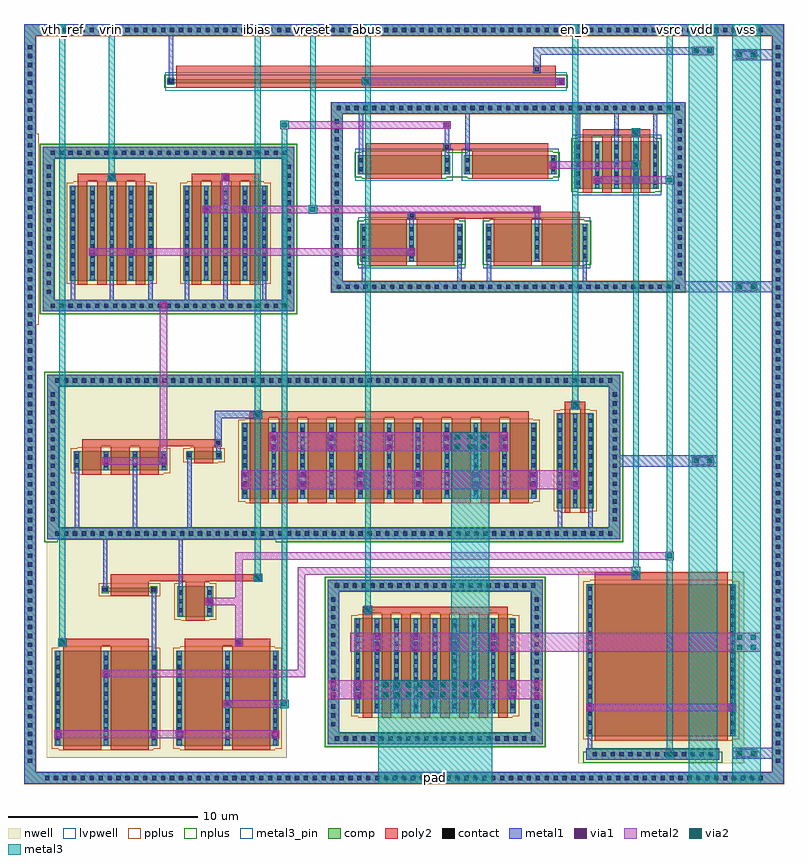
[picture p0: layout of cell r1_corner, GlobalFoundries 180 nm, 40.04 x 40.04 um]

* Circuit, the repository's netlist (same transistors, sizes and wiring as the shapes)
* LVS reference for r1_corner (layout/readout), flat transistor level.
* Source: cells/readout/r1_corner.spice -> pad_psf (readout.spice) + vreset_buf (vreset/vreset_buf.spice)
*         + vsrc_buf (vsrc/vsrc_buf.spice).
* Internal nets: s = pad-driver enable/bias midpoint, t = Vreset tail (also the input-pair n-well),
* a = Vreset mirror diode node; t2 / a2 / o = vsrc buffer tail / mirror diode / first-stage output.
.subckt r1_corner abus pad en_b ibias vrin vreset vth_ref vsrc vdd vss
* bias receiver
XPR ibias ibias vdd vdd pfet_03v3 W=0.4u L=1u
* pad_psf
XPF vss abus pad pad pfet_03v3 W=40u L=0.5u
XPE s en_b vdd vdd pfet_03v3 W=10u L=0.28u
XPB pad ibias s vdd pfet_03v3 W=40u L=1u
XPD abus vdd vss vss nfet_03v3 W=0.22u L=20u
* vreset_buf (vfb = vout = vreset)
XPT t ibias vdd vdd pfet_03v3 W=3u L=1u
XM1 a vrin t t pfet_03v3 W=20u L=0.5u
XM2 vreset vreset t t pfet_03v3 W=20u L=0.5u
XN1 a a vss vss nfet_03v3 W=4u L=2u
XN2 vreset a vss vss nfet_03v3 W=4u L=2u
* vsrc_buf (vin = vth_ref, vbp = ibias)
XVT t2 ibias vdd vdd pfet_03v3 W=0.22u L=2u
XVA a2 vsrc t2 vdd pfet_03v3 W=10u L=2u
XVB o vth_ref t2 vdd pfet_03v3 W=10u L=2u
XVNA a2 a2 vss vss nfet_03v3 W=1u L=4u
XVNB o a2 vss vss nfet_03v3 W=1u L=4u
XVS vsrc o vss vss nfet_03v3 W=10u L=0.5u
XVU vsrc ibias vdd vdd pfet_03v3 W=1.6u L=1u
XVC vsrc o vsrc vsrc pfet_03v3 W=8u L=7u
.ends r1_corner

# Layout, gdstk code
import gdstk
lib = gdstk.Library(unit=1e-6, precision=1e-09)
def R(c, l, rs):  # rectangles x0, y0, x1, y1
    for r in rs: c.add(gdstk.rectangle(r[:2], r[2:], *l))
def A(c, l, x, y, w, h, nx, ny, dx, dy):  # array of equal rectangles
    R(c, l, [(x+i*dx, y+j*dy, x+i*dx+w, y+j*dy+h) for i in range(nx) for j in range(ny)])
nwell = (21, 0)
comp = (22, 0)
poly2 = (30, 0)
pplus = (31, 0)
nplus = (32, 0)
contact = (33, 0)
metal1 = (34, 0)
via1 = (35, 0)
metal2 = (36, 0)
via2 = (38, 0)
metal3 = (42, 0)
metal3_pin = (42, 10)
lvpwell = (204, 0)

p_w5_l0p5_nf8 = lib.new_cell('p_w5_l0p5_nf8')
R(p_w5_l0p5_nf8, nwell, [(-4.69,-3.15,4.69,3.15)])
R(p_w5_l0p5_nf8, comp, [(-4.26,-2.5,4.26,2.5)])
A(p_w5_l0p5_nf8, poly2, -3.82, -2.72, 0.5, 5.44, 8, 1, 1.02, 0)
R(p_w5_l0p5_nf8, pplus, [(-4.05,-2.73,4.05,-2.66), (-4.42,-2.66,4.42,2.66), (-4.05,2.66,4.05,2.73)])
A(p_w5_l0p5_nf8, contact, -4.19, -2.225, 0.22, 0.22, 9, 10, 1.02, 0.47)
A(p_w5_l0p5_nf8, metal1, -4.195, -2.49, 0.23, 4.98, 9, 1, 1.02, 0)

p_w5_l2_nf2 = lib.new_cell('p_w5_l2_nf2')
R(p_w5_l2_nf2, nwell, [(-3.13,-3.15,3.13,3.15)])
R(p_w5_l2_nf2, comp, [(-2.7,-2.5,2.7,2.5)])
R(p_w5_l2_nf2, poly2, [(-2.26,-2.72,-0.26,2.72), (0.26,-2.72,2.26,2.72)])
R(p_w5_l2_nf2, pplus, [(-2.49,-2.73,2.49,-2.66), (-2.86,-2.66,2.86,2.66), (-2.49,2.66,2.49,2.73)])
A(p_w5_l2_nf2, contact, -2.63, -2.225, 0.22, 0.22, 3, 10, 2.52, 0.47)
A(p_w5_l2_nf2, metal1, -2.635, -2.49, 0.23, 4.98, 3, 1, 2.52, 0)

p_w0p22_l2_nf1 = lib.new_cell('p_w0p22_l2_nf1')
R(p_w0p22_l2_nf1, nwell, [(-1.89,-0.795,1.89,0.795)])
R(p_w0p22_l2_nf1, comp, [(-1.46,-0.18,-1.1,-0.11), (1.1,-0.18,1.46,-0.11), (-1.46,-0.11,1.46,0.11), (-1.46,0.11,-1.1,0.18), (1.1,0.11,1.46,0.18)])
R(p_w0p22_l2_nf1, poly2, [(-1,-0.33,1,0.33)])
R(p_w0p22_l2_nf1, pplus, [(-1.62,-0.34,1.62,0.34)])
R(p_w0p22_l2_nf1, contact, [(-1.39,-0.11,-1.17,0.11), (1.17,-0.11,1.39,0.11)])
R(p_w0p22_l2_nf1, metal1, [(-1.45,-0.115,-1.11,0.115), (1.11,-0.115,1.45,0.115)])

p_w1p6_l1_nf1 = lib.new_cell('p_w1p6_l1_nf1')
R(p_w1p6_l1_nf1, nwell, [(-1.37,-1.45,1.37,1.45)])
R(p_w1p6_l1_nf1, comp, [(-0.94,-0.8,0.94,0.8)])
R(p_w1p6_l1_nf1, poly2, [(-0.5,-1.02,0.5,1.02)])
R(p_w1p6_l1_nf1, pplus, [(-0.73,-1.03,0.73,-0.96), (-1.1,-0.96,1.1,0.96), (-0.73,0.96,0.73,1.03)])
A(p_w1p6_l1_nf1, contact, -0.87, -0.58, 0.22, 0.22, 1, 3, 0, 0.47)
A(p_w1p6_l1_nf1, contact, 0.65, -0.58, 0.22, 0.22, 1, 3, 0, 0.47)
R(p_w1p6_l1_nf1, metal1, [(-0.875,-0.79,-0.645,0.79), (0.645,-0.79,0.875,0.79)])

p_w8_l7_nf1 = lib.new_cell('p_w8_l7_nf1')
R(p_w8_l7_nf1, nwell, [(-4.37,-4.65,4.37,4.65)])
R(p_w8_l7_nf1, comp, [(-3.94,-4,3.94,4)])
R(p_w8_l7_nf1, poly2, [(-3.5,-4.22,3.5,4.22)])
R(p_w8_l7_nf1, pplus, [(-3.73,-4.23,3.73,-4.16), (-4.1,-4.16,4.1,4.16), (-3.73,4.16,3.73,4.23)])
A(p_w8_l7_nf1, contact, -3.87, -3.87, 0.22, 0.22, 1, 17, 0, 0.47)
A(p_w8_l7_nf1, contact, 3.65, -3.87, 0.22, 0.22, 1, 17, 0, 0.47)
R(p_w8_l7_nf1, metal1, [(-3.875,-3.99,-3.645,3.99), (3.645,-3.99,3.875,3.99)])

p_w1_l1_nf3 = lib.new_cell('p_w1_l1_nf3')
R(p_w1_l1_nf3, nwell, [(-2.89,-1.15,2.89,1.15)])
R(p_w1_l1_nf3, comp, [(-2.46,-0.5,2.46,0.5)])
A(p_w1_l1_nf3, poly2, -2.02, -0.72, 1, 1.44, 3, 1, 1.52, 0)
R(p_w1_l1_nf3, pplus, [(-2.25,-0.73,2.25,-0.66), (-2.62,-0.66,2.62,0.66), (-2.25,0.66,2.25,0.73)])
A(p_w1_l1_nf3, contact, -2.39, -0.345, 0.22, 0.22, 4, 2, 1.52, 0.47)
A(p_w1_l1_nf3, metal1, -2.395, -0.49, 0.23, 0.98, 4, 1, 1.52, 0)

p_w0p4_l1_nf1 = lib.new_cell('p_w0p4_l1_nf1')
R(p_w0p4_l1_nf1, nwell, [(-1.37,-0.85,1.37,0.85)])
R(p_w0p4_l1_nf1, comp, [(-0.94,-0.2,0.94,0.2)])
R(p_w0p4_l1_nf1, poly2, [(-0.5,-0.42,0.5,0.42)])
R(p_w0p4_l1_nf1, pplus, [(-0.73,-0.43,0.73,-0.36), (-1.1,-0.36,1.1,0.36), (-0.73,0.36,0.73,0.43)])
R(p_w0p4_l1_nf1, contact, [(-0.87,-0.11,-0.65,0.11), (0.65,-0.11,0.87,0.11)])
R(p_w0p4_l1_nf1, metal1, [(-0.875,-0.19,-0.645,0.19), (0.645,-0.19,0.875,0.19)])

p_w4_l1_nf10 = lib.new_cell('p_w4_l1_nf10')
R(p_w4_l1_nf10, nwell, [(-8.21,-2.65,8.21,2.65)])
R(p_w4_l1_nf10, comp, [(-7.78,-2,7.78,2)])
A(p_w4_l1_nf10, poly2, -7.34, -2.22, 1, 4.44, 10, 1, 1.52, 0)
R(p_w4_l1_nf10, pplus, [(-7.57,-2.23,7.57,-2.16), (-7.94,-2.16,7.94,2.16), (-7.57,2.16,7.57,2.23)])
A(p_w4_l1_nf10, contact, -7.71, -1.755, 0.22, 0.22, 11, 8, 1.52, 0.47)
A(p_w4_l1_nf10, metal1, -7.715, -1.99, 0.23, 3.98, 11, 1, 1.52, 0)

p_w5_l0p28_nf2 = lib.new_cell('p_w5_l0p28_nf2')
R(p_w5_l0p28_nf2, nwell, [(-1.41,-3.15,1.41,3.15)])
R(p_w5_l0p28_nf2, comp, [(-0.98,-2.5,0.98,2.5)])
R(p_w5_l0p28_nf2, poly2, [(-0.54,-2.72,-0.26,2.72), (0.26,-2.72,0.54,2.72)])
R(p_w5_l0p28_nf2, pplus, [(-0.77,-2.73,0.77,-2.66), (-1.14,-2.66,1.14,2.66), (-0.77,2.66,0.77,2.73)])
A(p_w5_l0p28_nf2, contact, -0.91, -2.225, 0.22, 0.22, 3, 10, 0.8, 0.47)
A(p_w5_l0p28_nf2, metal1, -0.915, -2.49, 0.23, 4.98, 3, 1, 0.8, 0)

p_w5_l0p5_nf4 = lib.new_cell('p_w5_l0p5_nf4')
R(p_w5_l0p5_nf4, nwell, [(-2.65,-3.15,2.65,3.15)])
R(p_w5_l0p5_nf4, comp, [(-2.22,-2.5,2.22,2.5)])
A(p_w5_l0p5_nf4, poly2, -1.78, -2.72, 0.5, 5.44, 4, 1, 1.02, 0)
R(p_w5_l0p5_nf4, pplus, [(-2.01,-2.73,2.01,-2.66), (-2.38,-2.66,2.38,2.66), (-2.01,2.66,2.01,2.73)])
A(p_w5_l0p5_nf4, contact, -2.15, -2.225, 0.22, 0.22, 5, 10, 1.02, 0.47)
A(p_w5_l0p5_nf4, metal1, -2.155, -2.49, 0.23, 4.98, 5, 1, 1.02, 0)

n_w2_l2_nf2 = lib.new_cell('n_w2_l2_nf2')
R(n_w2_l2_nf2, comp, [(-2.7,-1,2.7,1)])
R(n_w2_l2_nf2, poly2, [(-2.26,-1.22,-0.26,1.22), (0.26,-1.22,2.26,1.22)])
R(n_w2_l2_nf2, nplus, [(-2.49,-1.23,2.49,-1.16), (-2.86,-1.16,2.86,1.16), (-2.49,1.16,2.49,1.23)])
A(n_w2_l2_nf2, contact, -2.63, -0.815, 0.22, 0.22, 3, 4, 2.52, 0.47)
A(n_w2_l2_nf2, metal1, -2.635, -0.99, 0.23, 1.98, 3, 1, 2.52, 0)
R(n_w2_l2_nf2, lvpwell, [(-2.82,-1.34,2.82,1.34)])

n_w0p22_l20_nf1 = lib.new_cell('n_w0p22_l20_nf1')
R(n_w0p22_l20_nf1, comp, [(-10.46,-0.18,-10.1,-0.11), (10.1,-0.18,10.46,-0.11), (-10.46,-0.11,10.46,0.11), (-10.46,0.11,-10.1,0.18), (10.1,0.11,10.46,0.18)])
R(n_w0p22_l20_nf1, poly2, [(-10,-0.33,10,0.33)])
R(n_w0p22_l20_nf1, nplus, [(-10.62,-0.34,10.62,0.34)])
R(n_w0p22_l20_nf1, contact, [(-10.39,-0.11,-10.17,0.11), (10.17,-0.11,10.39,0.11)])
R(n_w0p22_l20_nf1, metal1, [(-10.45,-0.115,-10.11,0.115), (10.11,-0.115,10.45,0.115)])
R(n_w0p22_l20_nf1, lvpwell, [(-10.58,-0.485,10.58,0.485)])

n_w1_l4_nf1 = lib.new_cell('n_w1_l4_nf1')
R(n_w1_l4_nf1, comp, [(-2.44,-0.5,2.44,0.5)])
R(n_w1_l4_nf1, poly2, [(-2,-0.72,2,0.72)])
R(n_w1_l4_nf1, nplus, [(-2.23,-0.73,2.23,-0.66), (-2.6,-0.66,2.6,0.66), (-2.23,0.66,2.23,0.73)])
R(n_w1_l4_nf1, contact, [(-2.37,-0.345,-2.15,-0.125), (2.15,-0.345,2.37,-0.125), (-2.37,0.125,-2.15,0.345), (2.15,0.125,2.37,0.345)])
R(n_w1_l4_nf1, metal1, [(-2.375,-0.49,-2.145,0.49), (2.145,-0.49,2.375,0.49)])
R(n_w1_l4_nf1, lvpwell, [(-2.56,-0.84,2.56,0.84)])

n_w2p5_l0p5_nf4 = lib.new_cell('n_w2p5_l0p5_nf4')
R(n_w2p5_l0p5_nf4, comp, [(-2.22,-1.25,2.22,1.25)])
A(n_w2p5_l0p5_nf4, poly2, -1.78, -1.47, 0.5, 2.94, 4, 1, 1.02, 0)
R(n_w2p5_l0p5_nf4, nplus, [(-2.01,-1.48,2.01,-1.41), (-2.38,-1.41,2.38,1.41), (-2.01,1.41,2.01,1.48)])
A(n_w2p5_l0p5_nf4, contact, -2.15, -1.05, 0.22, 0.22, 5, 5, 1.02, 0.47)
A(n_w2p5_l0p5_nf4, metal1, -2.155, -1.24, 0.23, 2.48, 5, 1, 1.02, 0)
R(n_w2p5_l0p5_nf4, lvpwell, [(-2.34,-1.59,2.34,1.59)])

r1_corner = lib.new_cell('r1_corner')
R(r1_corner, nwell, [(29.18,1.08,37.92,10.93), (1.17,1.35,13.83,12.76), (15.86,1.96,27.42,10.86), (1.08,12.76,31.52,21.66), (0.86,24.76,14.34,33.66)])
R(r1_corner, comp, [(0,0,40,0.6), (0,0.6,0.6,39.4), (39.4,0.6,40,39.4), (29.61,1.25,36.6,1.85), (15.98,2.08,27.3,2.68), (15.98,2.68,16.58,10.14), (26.7,2.68,27.3,10.14), (15.98,10.14,27.3,10.74), (1.2,12.88,31.4,13.48), (1.2,13.48,1.8,20.94), (30.8,13.48,31.4,20.94), (1.2,20.94,31.4,21.54), (0.98,24.88,14.22,25.48), (0.98,25.48,1.58,32.94), (13.62,25.48,14.22,32.94), (16.16,25.88,34.82,26.48), (16.16,26.48,16.76,35.29), (34.22,26.48,34.82,35.29), (0.98,32.94,14.22,33.54), (16.16,35.29,34.82,35.89), (0,39.4,40,40)])
A(r1_corner, poly2, 17.82, 8.7, 0.5, 0.27, 8, 1, 1.02, 0)
A(r1_corner, poly2, 3.04, 17.5, 1, 0.27, 3, 1, 1.52, 0)
A(r1_corner, poly2, 11.88, 19, 1, 0.27, 10, 1, 1.52, 0)
A(r1_corner, poly2, 2.82, 31.5, 0.5, 0.27, 4, 1, 1.02, 0)
A(r1_corner, poly2, 8.82, 31.5, 0.5, 0.27, 4, 1, 1.02, 0)
A(r1_corner, poly2, 29.42, 33.85, 0.5, 0.27, 4, 1, 1.02, 0)
R(r1_corner, poly2, [(2.04,7,4.04,7.27), (4.56,7,6.56,7.27), (8.44,7,10.44,7.27), (10.96,7,12.96,7.27), (1.82,7.27,6.56,7.63), (8.44,7.27,12.96,7.63), (17.82,8.97,25.46,9.33), (4.54,10.4,6.54,10.67), (8.5,10.4,9.5,10.67), (30.05,10.5,37.05,11.13), (4.54,10.67,12.48,11.03), (8.96,17.5,9.96,17.77), (3.04,17.77,10.4,18.13), (11.88,19.27,26.56,19.63), (28.48,19.5,28.76,19.77), (29.28,19.5,29.56,19.77), (28.48,19.77,29.56,20.13), (18.14,29.5,20.14,29.77), (20.66,29.5,22.66,29.77), (24.74,29.5,26.74,29.77), (27.26,29.5,29.26,29.77), (18.14,29.77,29.26,30.13), (2.82,31.77,6.38,32.13), (8.82,31.77,12.38,32.13), (18,33.1,22,33.37), (23.6,33.1,27.6,33.37), (18,33.37,27.6,33.73), (29.42,34.12,32.98,34.48), (8,37.18,28,37.81)])
R(r1_corner, pplus, [(-0.02,-0.02,40.02,0.62), (-0.02,0.62,0.62,24.17), (39.38,0.62,40.02,39.38), (-0.02,24.17,0.76,34.25), (16.14,25.86,34.84,26.5), (16.14,26.5,16.78,35.27), (34.2,26.5,34.84,35.27), (-0.02,34.25,0.62,39.38), (16.14,35.27,34.84,35.91), (-0.02,39.38,40.02,40.02)])
R(r1_corner, nplus, [(29.45,1.09,36.76,1.67), (29.59,1.67,36.62,1.87), (15.82,1.92,27.46,2.7), (15.82,2.7,16.6,10.12), (26.68,2.7,27.46,10.12), (15.82,10.12,27.46,10.9), (1.04,12.72,1.76,12.86), (13.24,12.72,31.56,12.86), (1.04,12.86,31.56,13.5), (1.04,13.5,1.82,20.92), (30.78,13.5,31.56,20.92), (1.04,20.92,31.56,21.7), (0.82,24.72,14.38,25.5), (0.82,25.5,1.6,32.92), (13.6,25.5,14.38,32.92), (22.6,31.94,23,33.26), (0.82,32.92,14.38,33.7)])
A(r1_corner, contact, 1.09, 0.19, 0.22, 0.22, 81, 2, 0.47, 39.4)
A(r1_corner, contact, 0.19, 1.09, 0.22, 0.22, 1, 81, 0, 0.47)
A(r1_corner, contact, 39.59, 1.09, 0.22, 0.22, 1, 81, 0, 0.47)
A(r1_corner, contact, 29.94, 1.44, 0.22, 0.22, 14, 1, 0.47, 0)
A(r1_corner, contact, 16.36, 2.27, 0.22, 0.22, 23, 2, 0.47, 8.06)
A(r1_corner, contact, 16.17, 3.01, 0.22, 0.22, 1, 15, 0, 0.47)
A(r1_corner, contact, 26.89, 3.01, 0.22, 0.22, 1, 15, 0, 0.47)
A(r1_corner, contact, 1.62, 13.07, 0.22, 0.22, 63, 2, 0.47, 8.06)
A(r1_corner, contact, 1.39, 13.81, 0.22, 0.22, 1, 15, 0, 0.47)
A(r1_corner, contact, 30.99, 13.81, 0.22, 0.22, 1, 15, 0, 0.47)
A(r1_corner, contact, 1.38, 25.07, 0.22, 0.22, 27, 2, 0.47, 8.06)
A(r1_corner, contact, 1.17, 25.81, 0.22, 0.22, 1, 15, 0, 0.47)
A(r1_corner, contact, 13.81, 25.81, 0.22, 0.22, 1, 15, 0, 0.47)
A(r1_corner, contact, 16.45, 26.07, 0.22, 0.22, 39, 2, 0.47, 9.41)
A(r1_corner, contact, 16.35, 26.78, 0.22, 0.22, 1, 18, 0, 0.47)
A(r1_corner, contact, 34.41, 26.78, 0.22, 0.22, 1, 18, 0, 0.47)
R(r1_corner, contact, [(1.89,7.34,2.11,7.56), (11.19,7.34,11.41,7.56), (17.99,9.04,18.21,9.26), (12.19,10.74,12.41,10.96), (32.11,10.84,32.33,11.06), (10.11,17.84,10.33,18.06), (12.19,19.34,12.41,19.56), (28.91,19.84,29.13,20.06), (20.29,29.84,20.51,30.06), (4.49,31.84,4.71,32.06), (10.49,31.84,10.71,32.06), (22.15,33.44,22.37,33.66), (32.11,34.19,32.33,34.41), (26.89,37.52,27.11,37.74)])
A(r1_corner, metal1, 17.36, 4.49, 0.4, 0.92, 5, 1, 2.04, 0)
A(r1_corner, metal1, 18.38, 6.99, 0.4, 0.92, 4, 1, 2.04, 0)
A(r1_corner, metal1, 11.42, 15.54, 0.4, 0.92, 6, 1, 3.04, 0)
A(r1_corner, metal1, 12.94, 17.54, 0.4, 0.92, 5, 1, 3.04, 0)
A(r1_corner, metal1, 2.445, 25.48, 0.23, 1.09, 3, 1, 2.04, 0)
A(r1_corner, metal1, 8.445, 25.48, 0.23, 1.09, 3, 1, 2.04, 0)
A(r1_corner, metal1, 29.045, 33.78, 0.23, 1.51, 3, 1, 2.04, 0)
R(r1_corner, metal1, [(0,0,40,0.6), (0,0.6,0.6,39.4), (39.4,0.6,40,1.3), (29.61,1.25,36.6,1.85), (37.3,1.3,40,1.9), (29.675,1.85,29.905,2.57), (39.4,1.9,40,25.88), (15.98,2.08,27.3,2.68), (1.58,2.4,1.98,2.8), (6.62,2.4,7.02,2.8), (7.98,2.4,8.38,2.8), (13.02,2.4,13.42,2.8), (15.98,2.68,16.58,10.14), (26.7,2.68,27.3,10.14), (29.59,3.8,29.99,4.2), (37.11,3.8,37.51,4.2), (10.5,4,10.9,4.4), (4.1,5.6,4.5,6), (6.705,6.93,6.935,10.11), (1.8,7.25,2.2,7.65), (11.1,7.25,11.5,7.65), (17.9,8.95,18.3,9.35), (9.56,9.4,9.96,9.8), (15.98,10.14,27.3,10.74), (4.145,10.33,4.375,12.88), (8.125,10.33,8.355,12.88), (12.1,10.65,12.5,11.05), (32.02,10.75,32.42,11.15), (1.2,12.88,31.4,13.48), (1.2,13.48,1.8,20.94), (2.665,13.48,2.895,16.57), (5.705,13.48,5.935,16.57), (8.585,13.48,8.815,17.17), (28.105,13.48,28.335,14.57), (29.705,13.48,29.935,14.57), (30.8,13.48,31.4,16.7), (28.82,15.54,29.22,16.46), (30.8,16.7,36.5,17.3), (4.1,16.8,4.5,17.2), (7.14,16.8,7.54,17.2), (30.8,17.3,31.4,20.94), (10.105,17.43,10.335,17.76), (10.03,17.76,10.41,19.26), (12.1,19.25,12.5,19.26), (10.03,19.26,12.5,19.64), (12.1,19.64,12.5,19.65), (28.82,19.75,29.22,20.15), (1.2,20.94,31.4,21.54), (0.98,24.88,14.22,25.48), (0.98,25.48,1.58,32.94), (13.62,25.48,14.22,32.94), (16.16,25.88,40,26.48), (16.16,26.48,16.76,35.29), (17.765,26.48,17.995,27.57), (22.805,26.48,23.035,27.57), (24.365,26.48,24.595,27.57), (29.405,26.48,29.635,27.57), (34.22,26.48,34.82,35.29), (39.4,26.48,40,38.1), (3.38,27.8,3.78,28.2), (5.42,27.8,5.82,28.2), (20.2,27.8,20.6,28.2), (20.285,29.43,20.515,29.76), (26.885,29.43,27.115,30.05), (20.21,29.76,20.59,30.14), (9.38,30.05,9.78,30.45), (11.42,30.05,11.82,30.45), (26.8,30.05,27.2,30.45), (29.98,31.6,30.38,32), (32.02,31.6,32.42,32), (4.4,31.75,4.8,32.15), (10.4,31.75,10.8,32.15), (27.66,32.4,28.06,32.8), (0.98,32.94,14.22,33.54), (17.625,33.03,17.855,35.29), (22.145,33.03,22.375,33.36), (23.225,33.03,23.455,35.29), (22.07,33.36,22.45,33.74), (22.145,33.74,22.375,34.5), (32.02,34.1,32.42,34.5), (22.06,34.5,22.46,34.9), (16.16,35.29,34.82,35.89), (28.08,36.8,28.48,37.2), (7.605,37.11,7.835,39.4), (26.8,37.43,27.2,38.4), (37.3,38.1,40,38.7), (35.18,38.38,36.32,38.4), (26.8,38.4,36.32,38.8), (39.4,38.7,40,39.4), (35.18,38.8,36.32,38.82), (0,39.4,40,40)])
A(r1_corner, via1, 17.43, 4.56, 0.26, 0.26, 5, 2, 2.04, 0.52)
A(r1_corner, via1, 18.45, 7.06, 0.26, 0.26, 4, 2, 2.04, 0.52)
A(r1_corner, via1, 11.49, 15.61, 0.26, 0.26, 6, 2, 3.04, 0.52)
A(r1_corner, via1, 13.01, 17.61, 0.26, 0.26, 5, 2, 3.04, 0.52)
R(r1_corner, via1, [(33.87,1.42,34.13,1.68), (37.57,1.47,37.83,1.73), (38.27,1.47,38.53,1.73), (1.65,2.47,1.91,2.73), (6.69,2.47,6.95,2.73), (8.05,2.47,8.31,2.73), (13.09,2.47,13.35,2.73), (29.66,3.87,29.92,4.13), (37.18,3.87,37.44,4.13), (10.57,4.07,10.83,4.33), (16.15,4.56,16.41,4.82), (26.87,4.56,27.13,4.82), (16.15,5.08,16.41,5.34), (26.87,5.08,27.13,5.34), (4.17,5.67,4.43,5.93), (1.87,7.32,2.13,7.58), (11.17,7.32,11.43,7.58), (17.97,9.02,18.23,9.28), (9.63,9.47,9.89,9.73), (12.17,10.72,12.43,10.98), (32.09,10.82,32.35,11.08), (28.89,15.61,29.15,15.87), (28.89,16.13,29.15,16.39), (4.17,16.87,4.43,17.13), (7.21,16.87,7.47,17.13), (35.27,16.87,35.53,17.13), (35.97,16.87,36.23,17.13), (12.17,19.32,12.43,19.58), (28.89,19.82,29.15,20.08), (7.21,25.05,7.47,25.31), (37.57,26.05,37.83,26.31), (38.27,26.05,38.53,26.31), (3.45,27.87,3.71,28.13), (5.49,27.87,5.75,28.13), (20.27,27.87,20.53,28.13), (9.45,30.12,9.71,30.38), (11.49,30.12,11.75,30.38), (26.87,30.12,27.13,30.38), (30.05,31.67,30.31,31.93), (32.09,31.67,32.35,31.93), (4.47,31.82,4.73,32.08), (10.47,31.82,10.73,32.08), (27.73,32.47,27.99,32.73), (32.09,34.17,32.35,34.43), (22.13,34.57,22.39,34.83), (28.15,36.87,28.41,37.13), (37.57,38.27,37.83,38.53), (38.27,38.27,38.53,38.53), (35.27,38.47,35.53,38.73), (35.97,38.47,36.23,38.73)])
R(r1_corner, metal2, [(33.78,1.33,34.22,1.77), (37.48,1.38,38.62,1.82), (1.58,2.4,13.42,2.8), (29.59,3.8,37.51,4.2), (13.48,3.98,13.92,4), (10.5,4,13.92,4.4), (13.48,4.4,13.92,4.42), (15.98,4.45,27.3,5.45), (4.1,5.6,14.8,6), (14.4,6,14.8,11), (17.18,6.95,38.8,7.95), (1.78,7.23,2.22,7.67), (11.1,7.25,11.5,9.4), (17.88,8.93,18.32,9.37), (9.56,9.4,11.5,9.8), (11.1,9.8,11.5,11.8), (12.08,10.63,12.52,11.07), (32,10.73,32.44,11), (14.4,11,32.44,11.4), (32,11.4,32.44,11.42), (33.78,11.78,34.22,11.8), (11.1,11.8,34.22,12.2), (33.78,12.2,34.22,12.22), (11.42,15.5,29.22,16.5), (35.18,16.78,36.32,17.22), (4.1,16.8,7.54,17.2), (7.14,17.2,7.54,25.38), (12.94,17.5,25.5,18.5), (12.08,19.23,12.52,19.67), (28.8,19.73,29.24,20.17), (37.48,25.96,38.62,26.4), (3.38,27.8,20.6,28.2), (14.98,30.03,15.42,30.05), (9.38,30.05,27.2,30.45), (10.4,30.45,10.8,32.15), (14.98,30.45,15.42,30.47), (33.78,31.58,34.22,31.6), (29.98,31.6,34.22,32), (4.38,31.73,4.82,32.17), (33.78,32,34.22,32.02), (32,32.38,32.44,32.4), (27.66,32.4,32.44,32.8), (32,32.8,32.44,32.82), (32,34.08,32.44,34.52), (13.48,34.48,13.92,34.5), (13.48,34.5,22.46,34.9), (13.48,34.9,13.92,34.92), (17.78,36.78,18.22,36.8), (17.78,36.8,28.48,37.2), (17.78,37.2,18.22,37.22), (37.48,38.18,38.62,38.62), (35.18,38.38,36.32,38.82)])
A(r1_corner, via2, 18.91, 4.56, 0.26, 0.26, 9, 2, 0.6, 0.52)
A(r1_corner, via2, 22.67, 17.61, 0.26, 0.26, 3, 2, 0.7, 0.52)
R(r1_corner, via2, [(33.87,1.42,34.13,1.68), (37.57,1.47,37.83,1.73), (38.27,1.47,38.53,1.73), (13.57,4.07,13.83,4.33), (37.57,7.06,37.83,7.32), (38.27,7.06,38.53,7.32), (1.87,7.32,2.13,7.58), (37.57,7.58,37.83,7.84), (38.27,7.58,38.53,7.84), (17.97,9.02,18.23,9.28), (12.17,10.72,12.43,10.98), (32.09,10.945,32.35,11.205), (33.87,11.87,34.13,12.13), (35.27,16.87,35.53,17.13), (35.97,16.87,36.23,17.13), (12.17,19.32,12.43,19.58), (28.89,19.82,29.15,20.08), (37.57,26.05,37.83,26.31), (38.27,26.05,38.53,26.31), (15.07,30.12,15.33,30.38), (33.87,31.67,34.13,31.93), (4.47,31.82,4.73,32.08), (32.09,32.47,32.35,32.73), (32.09,34.17,32.35,34.43), (13.57,34.57,13.83,34.83), (17.87,36.87,18.13,37.13), (37.57,38.27,37.83,38.53), (38.27,38.27,38.53,38.53), (35.27,38.47,35.53,38.73), (35.97,38.47,36.23,38.73)])
R(r1_corner, metal3, [(18.64,0,24.64,5.45), (35,0,36.5,40), (37.3,0,38.8,40), (33.78,1.33,34.22,1.77), (33.85,1.77,34.15,11.78), (13.48,3.98,13.92,4.42), (13.55,4.42,13.85,34.48), (22.5,5.45,24.5,18.5), (1.78,7.23,2.22,7.67), (1.85,7.67,2.15,40), (17.88,8.93,18.32,9.37), (17.95,9.37,18.25,36.78), (12.08,10.63,12.52,11.07), (32,10.73,32.44,11.42), (12.15,11.07,12.45,19.23), (32.07,11.42,32.37,32.38), (33.78,11.78,34.22,12.22), (33.85,12.22,34.15,31.58), (12.08,19.23,12.52,19.67), (12.15,19.67,12.45,40), (28.8,19.73,29.24,20.17), (28.87,20.17,29.17,40), (14.98,30.03,15.42,30.47), (15.05,30.47,15.35,40), (33.78,31.58,34.22,32.02), (4.38,31.73,4.82,32.17), (33.85,32.02,34.15,40), (4.45,32.17,4.75,40), (32,32.38,32.44,32.82), (32.07,32.82,32.37,34.08), (32,34.08,32.44,34.52), (13.48,34.48,13.92,34.92), (17.78,36.78,18.25,37.22), (17.95,37.22,18.25,40)])
A(r1_corner, metal3_pin, 12.15, 39.5, 0.3, 0.5, 3, 1, 2.9, 0)
R(r1_corner, metal3_pin, [(18.64,0,24.64,0.6), (1.85,39.5,2.15,40), (4.45,39.5,4.75,40), (28.87,39.5,29.17,40), (33.85,39.5,34.15,40), (35,39.5,36.5,40), (37.3,39.5,38.8,40)])
r1_corner.add(gdstk.Reference(p_w5_l0p5_nf8, (21.64,6.2)))
r1_corner.add(gdstk.Reference(p_w5_l2_nf2, (4.3,4.5)))
r1_corner.add(gdstk.Reference(p_w5_l2_nf2, (10.7,4.5)))
r1_corner.add(gdstk.Reference(p_w0p22_l2_nf1, (5.54,10.22)))
r1_corner.add(gdstk.Reference(p_w1p6_l1_nf1, (9,9.6)))
r1_corner.add(gdstk.Reference(p_w8_l7_nf1, (33.55,6.5)))
r1_corner.add(gdstk.Reference(p_w1_l1_nf3, (5.06,17)))
r1_corner.add(gdstk.Reference(p_w0p4_l1_nf1, (9.46,17.3)))
r1_corner.add(gdstk.Reference(p_w4_l1_nf10, (19.22,17)))
r1_corner.add(gdstk.Reference(p_w5_l0p28_nf2, (29.02,17)))
r1_corner.add(gdstk.Reference(p_w5_l0p5_nf4, (4.6,29)))
r1_corner.add(gdstk.Reference(p_w5_l0p5_nf4, (10.6,29)))
r1_corner.add(gdstk.Reference(n_w2_l2_nf2, (20.4,28.5)))
r1_corner.add(gdstk.Reference(n_w2_l2_nf2, (27,28.5)))
r1_corner.add(gdstk.Reference(n_w0p22_l20_nf1, (18,37)))
r1_corner.add(gdstk.Reference(n_w1_l4_nf1, (20,32.6)))
r1_corner.add(gdstk.Reference(n_w1_l4_nf1, (25.6,32.6)))
r1_corner.add(gdstk.Reference(n_w2p5_l0p5_nf4, (31.2,32.6)))
r1_corner.add(gdstk.Label('pad', (21.64,0.3), layer=42, texttype=10))
r1_corner.add(gdstk.Label('vth_ref', (2,39.75), layer=42, texttype=10))
r1_corner.add(gdstk.Label('vsrc', (34,39.75), layer=42, texttype=10))
r1_corner.add(gdstk.Label('vrin', (4.6,39.75), layer=42, texttype=10))
r1_corner.add(gdstk.Label('ibias', (12.3,39.75), layer=42, texttype=10))
r1_corner.add(gdstk.Label('vreset', (15.2,39.75), layer=42, texttype=10))
r1_corner.add(gdstk.Label('abus', (18.1,39.75), layer=42, texttype=10))
r1_corner.add(gdstk.Label('en_b', (29.02,39.75), layer=42, texttype=10))
r1_corner.add(gdstk.Label('vdd', (35.75,39.75), layer=42, texttype=10))
r1_corner.add(gdstk.Label('vss', (38.05,39.75), layer=42, texttype=10))

lib.write_gds('r1_corner.gds')
